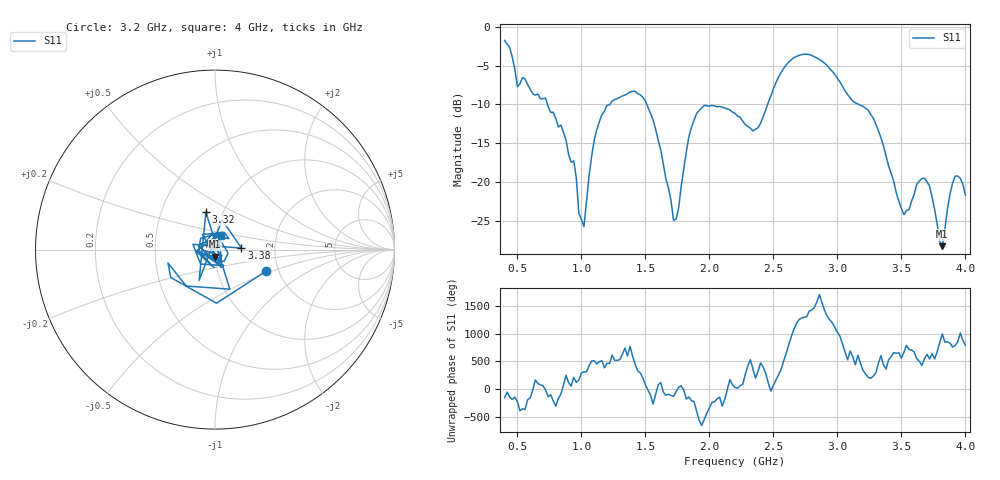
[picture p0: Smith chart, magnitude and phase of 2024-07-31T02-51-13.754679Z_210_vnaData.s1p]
!Created with skrf (http://scikit-rf.org).
# Hz S RI R 50.0
!freq ReS11 ImS11
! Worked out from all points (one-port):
!   181 points, 400 MHz to 4 GHz, reference 50 ohm
!   lowest |S11| = -28.3 dB at 3.82 GHz (marker M1), VSWR 1.08, Z = 50 - j3.86 ohm
!   |S11| at or under -10 dB: 735.1 MHz to 1.222 GHz (487.1 MHz wide, 49.8 % of centre); 1.511 GHz to 2.455 GHz (943.3 MHz wide, 47.6 % of centre); 3.167 GHz to end of sweep
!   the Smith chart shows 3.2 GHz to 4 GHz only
!   S11 on the Smith chart (normalised r, x): 3.2 GHz: 1.71, -0.46; 3.32 GHz: 0.83, +0.36; 3.38 GHz: 1.35, +0.02; 4 GHz: 1.05, +0.16
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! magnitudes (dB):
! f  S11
! 400 MHz  -1.7
! 500 MHz  -7.7
! 720 MHz  -9.2
! 860 MHz  -13.6
! 940 MHz  -17.3
! 980 MHz  -24.0
! 1.02 GHz  -25.8
! 1.12 GHz  -13.3
! 1.3 GHz  -9.1
! 1.5 GHz  -9.5
! 1.72 GHz  -25.0
! 1.76 GHz  -23.3
! 1.84 GHz  -14.1
! 1.9 GHz  -11.2
! 2.2 GHz  -11.2
! 2.38 GHz  -13.0
! 2.66 GHz  -4.0
! 2.86 GHz  -4.2
! 3.1 GHz  -9.2
! 3.2 GHz  -10.2
! 3.32 GHz  -13.4
! 3.38 GHz  -16.6
! 3.52 GHz  -24.2
! 3.56 GHz  -23.6
! 3.68 GHz  -19.5
! 3.82 GHz  -28.3
! 3.92 GHz  -19.3
! 4 GHz  -21.7
